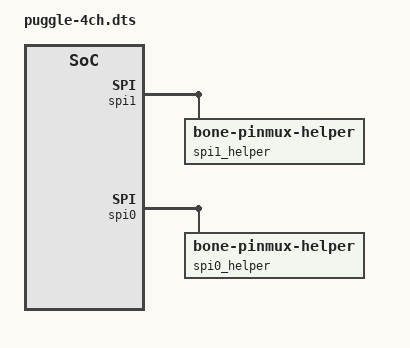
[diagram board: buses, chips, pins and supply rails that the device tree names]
/*
	 -------------------------------------------------------------------------

	 This file is part of the Puggle Data Conversion and Processing System
	 Copyright (C) 2013 Puggle

	 -------------------------------------------------------------------------

	 Written in 2013 by: Yogi Patel <yapatel@gatech.edu>

	 Minor comment and code pieces borrowed from Terrence McGucking.

	 To the extent possible under law, the author(s) have dedicated all copyright
	 and related and neighboring rights to this software to the public domain
	 worldwide. This software is distributed without any warranty.

	 You should have received a copy of the CC Public Domain Dedication along with
	 this software. If not, see <http://creativecommons.org/licenses/by-sa/3.0/legalcode>.
	 */

/dts-v1/;
/plugin/;

/ {
	/* identification */
	compatible = "ti,beaglebone", "ti,beaglebone-black";
	part-number = "puggleboard";
	version = "00A0";

	/* Pins used */
	exclusive-use =
		/* the pin header P8 uses */
		"P8.15", /* ADC BUSY pru0: pr1_pru0_pru_r31_15	*/
		"P8.11", /* ADC CONV pru0: pr1_pru0_pru_r30_15	*/
		"P8.12", /* LDAC     pru0: pr1_pru0_pru_r30_14	*/
		"P8.7",  /*GPIO os_0*/
		"P8.8",  /*GPIO os_1*/
		"P8.9",  /*GPIO os_2*/

		/* the pin header P9 uses */
		"P9.17", /* SPI0_CS0	*/
		"P9.18", /* SPI0_D1   */
		"P9.21", /* SPI0_D0_MOSI  */
		"P9.22", /* SPI0_SCLK */
		"P9.25", /* ADC RESET pru0: pr1_pru0_pru_r30_7	*/
		"P9.28", /* SPI1_CS0 	*/
		"P9.29", /* SPI1_MISO   */
		"P9.30", /* SPI1_MOSI	*/
		"P9.31", /* SPI1_SCLK	*/
		"P9.42", /* SPI1_CS1	*/

		/* Hardware used */
		"spi0",
		"spi1",
		"pruss",
		"pru0";

	fragment@0 {
		target = <&am33xx_pinmux>;
		__overlay__ {
			spi1: pinux_spi1 {
				pinctrl-single,pins = <
							 0x190 0x13	/* P9_31 = mcasp0_aclkx.spi1_sclk , OUTPUT_PULLUP | MODE3 */
							 0x194 0x13	/* P9_29 = mcasp0_fsx.spi1_d0	  , OUTPUT_PULLUP  | MODE3 */
							 0x198 0x33	/* P9_30 = mcasp0_axr0.spi1_d1	  , INPUT_PULLUP | MODE3 */
							 0x19c 0x13	/* P9_28 = mcasp0_ahclkr.spi1_cs0 , OUTPUT_PULLUP | MODE3 */
							 0x164 0x12      /* P9_42 = GPIO0_7 =  eCAP0_in_PWM0_out.gpio0[7] , OUTPUT_PULLUP | MODE2 */
				>;
			};

			spi0: pinux_spi0 {
				pinctrl-single,pins = <
							 0x150 0x30  	/* spi0_sclk, INPUT_PULLUP | MODE0 */
							 0x154 0x30  	/* spi0_d0, INPUT_PULLUP | MODE0 */
							 0x158 0x30  	/* spi0_d1, INPUT_PULLUP | MODE0 */
							 0x15c 0x30  	/* spi0_cs0, INPUT_PULLUP | MODE0 */
				>;
			};

			pru: pinux_pru {
				pinctrl-single,pins = <
									0x03c 0x26 	/* P8_15 = BUSY,  INPUT_PULLDOWN  | MODE6 */
									0x034 0x16 	/* P8_11 = CONV,  OUTPUT_PULLUP   | MODE6 */
									0x030 0x16 	/* P8_12 = LDAC,  OUTPUT_PULLUP   | MODE6 */
									0x1aC 0x05 	/* P9_25 = RESET, OUTPUT_PULLDOWN | MODE5 */
				>;
			};
			
			gpio: pinux_gpio {
				pinctrl-single,pins = <
											0x090 0x07 	/* P8_7  = OS_0 ,GPIO2_2,   OUTPUT_PULLDOWN | MODE 7 */
											0x094 0x07 	/* P8_8  = OS_1,GPIO2_3    gpmc_oen_ren.gpio2[3], OUTPUT_PULLDOWN | MODE 7*/
											0x09C 0x07 	/* P8_9  = OS_2,GPIO2_5,    OUTPUT_PULLDOWN | MODE 7*/
				>;
			};
		};
	};

	fragment@1 {
		target = <&spi1>;
		__overlay__ {
			spi1_helper: helper {
				compatible = "bone-pinmux-helper";
				pinctrl-names = "default";
				pinctrl-0 = <&spi1>;
				status = "okay";
			};
		};
	};

	fragment@2 {
		target = <&spi0>;
		__overlay__ {
			spi0_helper: helper {
				compatible = "bone-pinmux-helper";
				pinctrl-names = "default";
				pinctrl-0 = <&spi0>;
				status = "okay";
			};
		};
	};

	fragment@3 {
		target = <&pru>;
		__overlay__ {
			pru_helper: helper {
				compatible = "bone-pinmux-helper";
				pinctrl-names = "default";
				pinctrl-0 = <&pru>;
				status = "okay";
			};
		};
	};

	fragment@4 {
		target = <&ocp>;
		__overlay__ {
			gpio_helper: helper {
				compatible = "gpio-of-helper";
				pinctrl-names = "default";
				pinctrl-0 = <&gpio>;
				status = "okay";
			};
		};
	};
};
